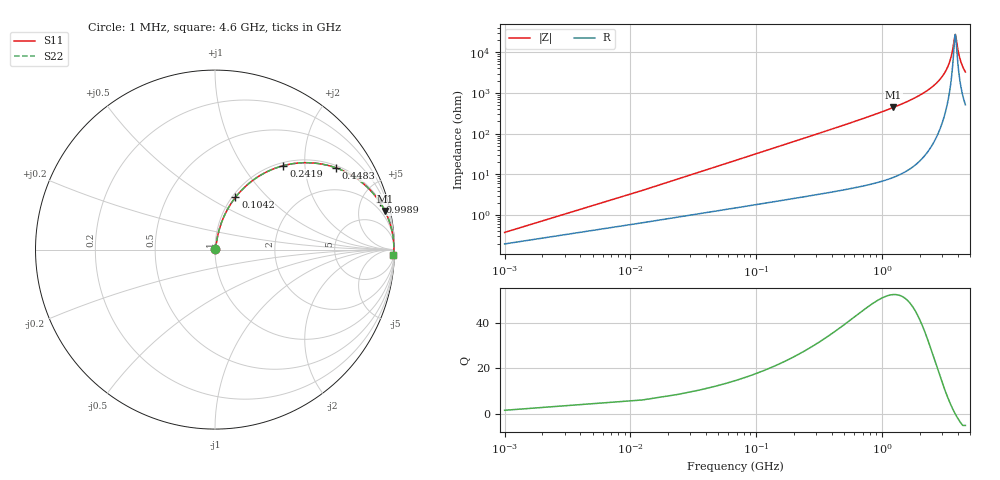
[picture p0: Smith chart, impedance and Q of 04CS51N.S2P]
! Coilcraft 0402CS-51N Chip Inductor
! 22 July 2002
# MHZ S MA R 50
!Freq  MagS11  AngS11  MagS21  AngS21  MagS12  AngS12  MagS22  AngS22
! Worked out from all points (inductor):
!   402 points, 1 MHz to 4.6 GHz, reference 50 ohm
!   read as one part in series: L = 51 nH near 23.94 MHz
!   highest Q = 52.2 at 1.228 GHz (marker M1), where L = 56.9 nH
!   self-resonance near 3.821 GHz
!   S11 on the Smith chart (normalised r, x): 1 MHz: 1.00, +0.01; 104.2 MHz: 1.04, +0.67; 241.9 MHz: 1.06, +1.56; 448.3 MHz: 1.08, +2.91; 998.9 MHz: 1.14, +6.87; 4.6 GHz: 11, -64
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1  0.003749 58.4  0.998 -0.2  0.998 -0.2  0.003749 58.4
35.41  0.1121 78.1  0.9831 -6.4  0.9831 -6.4  0.1121 78.1
58.35  0.1819 75.3  0.97 -10.5  0.97 -10.5  0.1819 75.3
104.23  0.3123 68.7  0.9329 -18.2  0.9329 -18.2  0.3123 68.7
161.58  0.4527 60.6  0.8718 -26.9  0.8718 -26.9  0.4527 60.6
241.87  0.6039 50.8  0.7755 -37.1  0.7755 -37.1  0.6039 50.8
448.33  0.8144 34.0  0.5589 -54.5  0.5589 -54.5  0.8144 34.0
769.49  0.9253 21.1  0.36 -67.7  0.36 -67.7  0.9253 21.1
998.89  0.9551 16.1  0.278 -72.7  0.278 -72.7  0.9551 16.1
1228.29  0.971 12.8  0.2212 -76.1  0.2212 -76.1  0.971 12.8
1537.98  0.9826 9.6  0.1671 -79.2  0.1671 -79.2  0.9826 9.6
2306.47  0.9937 4.9  0.08553 -83.3  0.08553 -83.3  0.9937 4.9
3074.96  0.9965 2.0  0.03583 -83.3  0.03583 -83.3  0.9965 2.0
3304.36  0.9966 1.4  0.02403 -81.2  0.02403 -81.2  0.9966 1.4
3476.41  0.9966 0.9  0.01586 -77.2  0.01586 -77.2  0.9966 0.9
3625.52  0.9965 0.5  0.009327 -68.0  0.009327 -68.0  0.9965 0.5
3786.1  0.9964 0.1  0.003962 -24.2  0.003962 -24.2  0.9964 0.1
3843.45  0.9963 -0.0  0.003768 12.3  0.003768 12.3  0.9963 -0.0
4015.5  0.9961 -0.5  0.008829 63.3  0.008829 63.3  0.9961 -0.5
4153.14  0.9958 -0.8  0.01401 72.2  0.01401 72.2  0.9958 -0.8
4348.13  0.9954 -1.2  0.02133 77.0  0.02133 77.0  0.9954 -1.2
4600  0.9948 -1.7  0.03047 79.3  0.03047 79.3  0.9948 -1.7
